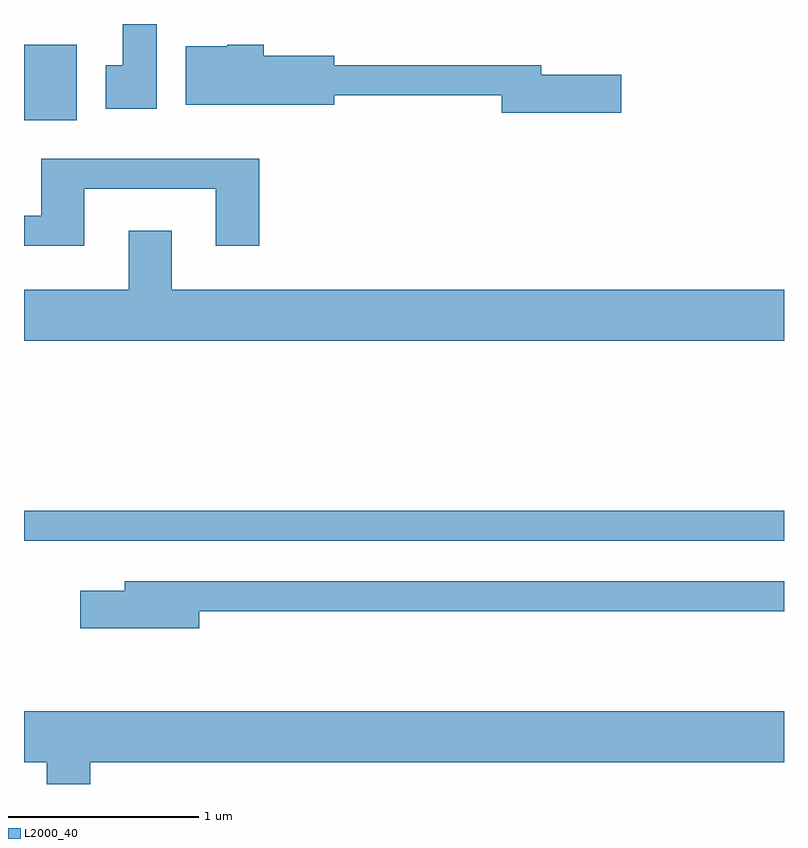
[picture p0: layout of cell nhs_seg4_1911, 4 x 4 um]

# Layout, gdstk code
import gdstk
lib = gdstk.Library(unit=1e-6, precision=1e-09)
def R(c, l, rs):  # rectangles x0, y0, x1, y1
    for r in rs: c.add(gdstk.rectangle(r[:2], r[2:], *l))
def P(c, l, *ps):  # polygons
    for p in ps: c.add(gdstk.Polygon(p, *l))
L2000_40 = (2000, 40)

nhs_seg4_1911 = lib.new_cell('nhs_seg4_1911')
R(nhs_seg4_1911, L2000_40, [(241.611,1269.261,245.611,1269.419), (241.611,1271.476,241.889,1271.874)])
P(nhs_seg4_1911, L2000_40, [(242.309,1271.982),(242.131,1271.982),(242.131,1271.764),(242.041,1271.764),(242.041,1271.536),(242.309,1271.536)],
  [(244.754,1271.714),(244.334,1271.714),(244.334,1271.764),(243.244,1271.764),(243.244,1271.814),(242.874,1271.814),(242.874,1271.874),(242.68,1271.874),(242.68,1271.864),(242.461,1271.864),(242.461,1271.556),(243.244,1271.556),(243.244,1271.606),(244.126,1271.606),(244.126,1271.516),(244.754,1271.516)],
  [(241.929,1271.116),(242.621,1271.116),(242.621,1270.816),(242.849,1270.816),(242.849,1271.274),(241.701,1271.274),(241.701,1270.974),(241.611,1270.974),(241.611,1270.816),(241.929,1270.816)],
  [(245.611,1270.584),(242.389,1270.584),(242.389,1270.894),(242.161,1270.894),(242.161,1270.584),(241.611,1270.584),(241.611,1270.316),(245.611,1270.316)],
  [(242.534,1268.891),(245.611,1268.891),(245.611,1269.049),(242.141,1269.049),(242.141,1268.999),(241.906,1268.999),(241.906,1268.801),(242.534,1268.801)],
  [(241.959,1268.096),(245.611,1268.096),(245.611,1268.364),(241.611,1268.364),(241.611,1268.096),(241.731,1268.096),(241.731,1267.982),(241.959,1267.982)])

lib.write_gds('nhs_seg4_1911.gds')
